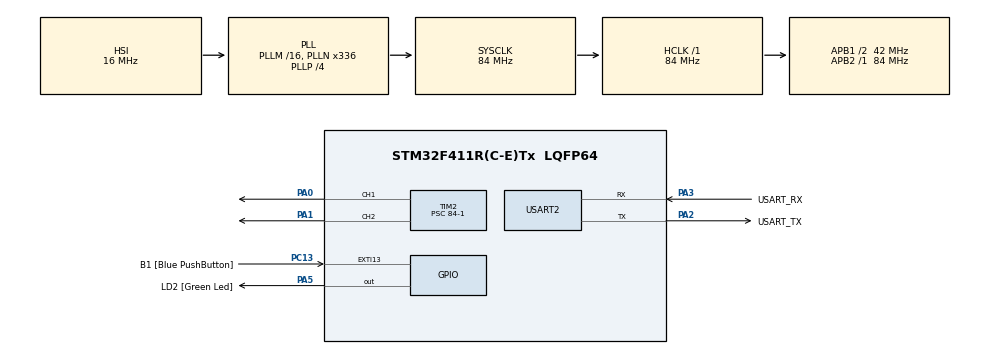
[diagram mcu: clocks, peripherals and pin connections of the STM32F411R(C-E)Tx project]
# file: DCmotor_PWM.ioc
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Mcu.Family=STM32F4
Mcu.Name=STM32F411R(C-E)Tx
Mcu.Package=LQFP64
NVIC.PriorityGroup=NVIC_PRIORITYGROUP_0
PA0-WKUP.Signal=S_TIM2_CH1_ETR
PA1.Signal=S_TIM2_CH2
PA13.GPIO_Label=TMS
PA13.Mode=Serial_Wire
PA13.Signal=SYS_JTMS-SWDIO
PA14.GPIO_Label=TCK
PA14.Mode=Serial_Wire
PA14.Signal=SYS_JTCK-SWCLK
PA2.GPIO_Label=USART_TX
PA2.Mode=Asynchronous
PA2.Signal=USART2_TX
PA3.GPIO_Label=USART_RX
PA3.Mode=Asynchronous
PA3.Signal=USART2_RX
PA5.GPIO_Label=LD2 [Green Led]
PA5.Signal=GPIO_Output
PB3.GPIO_Label=SWO
PB3.Signal=SYS_JTDO-SWO
PC13-ANTI_TAMP.GPIO_Label=B1 [Blue PushButton]
PC13-ANTI_TAMP.GPIO_ModeDefaultEXTI=GPIO_MODE_IT_FALLING
PC13-ANTI_TAMP.Signal=GPXTI13
PC14-OSC32_IN.Mode=LSE-External-Oscillator
PC14-OSC32_IN.Signal=RCC_OSC32_IN
PC15-OSC32_OUT.Mode=LSE-External-Oscillator
PC15-OSC32_OUT.Signal=RCC_OSC32_OUT
PH0\ -\ OSC_IN.Mode=HSE-External-Clock-Source
PH0\ -\ OSC_IN.Signal=RCC_OSC_IN
PH1\ -\ OSC_OUT.Mode=HSE-External-Clock-Source
PH1\ -\ OSC_OUT.Signal=RCC_OSC_OUT
ProjectManager.HeapSize=0x200
ProjectManager.StackSize=0x400
ProjectManager.TargetToolchain=STM32CubeIDE
RCC.48MHZClocksFreq_Value=84000000
RCC.AHBFreq_Value=84000000
RCC.APB1CLKDivider=RCC_HCLK_DIV2
RCC.APB1Freq_Value=42000000
RCC.APB1TimFreq_Value=84000000
RCC.APB2Freq_Value=84000000
RCC.APB2TimFreq_Value=84000000
RCC.CortexFreq_Value=84000000
RCC.FLatency-AdvancedSettings=FLASH_LATENCY_2
RCC.HCLKFreq_Value=84000000
RCC.HSE_VALUE=8000000
RCC.HSI_VALUE=16000000
RCC.PLLN=336
RCC.PLLP=RCC_PLLP_DIV4
RCC.SYSCLKFreq_VALUE=84000000
RCC.SYSCLKSource=RCC_SYSCLKSOURCE_PLLCLK
RCC.VCOOutputFreq_Value=336000000
SH.S_TIM2_CH1_ETR.0=TIM2_CH1,PWM Generation1 CH1
SH.S_TIM2_CH2.0=TIM2_CH2,PWM Generation2 CH2
TIM2.AutoReloadPreload=TIM_AUTORELOAD_PRELOAD_DISABLE
TIM2.Channel-PWM\ Generation1\ CH1=TIM_CHANNEL_1
TIM2.Channel-PWM\ Generation2\ CH2=TIM_CHANNEL_2
TIM2.Period=1000-1
TIM2.Prescaler=84-1
USART2.VirtualMode=VM_ASYNC
VP_TIM2_VS_ClockSourceINT.Mode=Internal
board=NUCLEO-F411RE

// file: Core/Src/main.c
/* USER CODE BEGIN Header */
/**
  ******************************************************************************
  * @file           : main.c
  * @brief          : Main program body
  ******************************************************************************
  * @attention
  *
  * Copyright (c) 2022 STMicroelectronics.
  * All rights reserved.
  *
  * This software is licensed under terms that can be found in the LICENSE file
  * in the root directory of this software component.
  * If no LICENSE file comes with this software, it is provided AS-IS.
  *
  ******************************************************************************
  */
/* USER CODE END Header */
#include "main.h"

/* USER CODE BEGIN Includes */
#include <stdio.h>
/* USER CODE END Includes */

TIM_HandleTypeDef htim2;

UART_HandleTypeDef huart2;

/* USER CODE BEGIN PV */
#define rate 500
/* USER CODE END PV */

int main(void)
{

  /* MCU Configuration--------------------------------------------------------*/

  /* Reset of all peripherals, Initializes the Flash interface and the Systick. */
  HAL_Init();

  /* Configure the system clock */
  SystemClock_Config();

  /* Initialize all configured peripherals */
  MX_GPIO_Init();
  MX_USART2_UART_Init();
  MX_TIM2_Init();
  /* USER CODE BEGIN 2 */
  HAL_TIM_PWM_Start(&htim2, TIM_CHANNEL_1);
  HAL_TIM_PWM_Start(&htim2, TIM_CHANNEL_2);
  /* USER CODE END 2 */

  /* Infinite loop */
  while (1)
  {

    /* USER CODE BEGIN 3 */
	  for (int i=0;i<rate;i++){
		  TIM2->CCR1=i;
	  	  TIM2->CCR2=0;
	  	  delay(5);
	  }
	  delay(1000);

	  for (int i=255;i>0;i--){
		  TIM2->CCR1=i;
	  	  TIM2->CCR2=0;
	  	  delay(5);
	  }
	  delay(1000);

	  for (int i=0;i<rate;i++){
		  TIM2->CCR1=0;
	  	  TIM2->CCR2=i;
	  	  delay(5);
	  }
	  delay(1000);
	  for (int i=255;i>0;i--){
		  TIM2->CCR1=0;
		  TIM2->CCR2=i;
		  delay(5);
	  }
	  delay(1000);

	  }

  /* USER CODE END 3 */
}

void SystemClock_Config(void)
{
  RCC_OscInitTypeDef RCC_OscInitStruct = {0};
  RCC_ClkInitTypeDef RCC_ClkInitStruct = {0};

  /** Configure the main internal regulator output voltage
  */
  __HAL_RCC_PWR_CLK_ENABLE();
  __HAL_PWR_VOLTAGESCALING_CONFIG(PWR_REGULATOR_VOLTAGE_SCALE1);

  /** Initializes the RCC Oscillators according to the specified parameters
  * in the RCC_OscInitTypeDef structure.
  */
  RCC_OscInitStruct.OscillatorType = RCC_OSCILLATORTYPE_HSI;
  RCC_OscInitStruct.HSIState = RCC_HSI_ON;
  RCC_OscInitStruct.HSICalibrationValue = RCC_HSICALIBRATION_DEFAULT;
  RCC_OscInitStruct.PLL.PLLState = RCC_PLL_ON;
  RCC_OscInitStruct.PLL.PLLSource = RCC_PLLSOURCE_HSI;
  RCC_OscInitStruct.PLL.PLLM = 16;
  RCC_OscInitStruct.PLL.PLLN = 336;
  RCC_OscInitStruct.PLL.PLLP = RCC_PLLP_DIV4;
  RCC_OscInitStruct.PLL.PLLQ = 4;
  if (HAL_RCC_OscConfig(&RCC_OscInitStruct) != HAL_OK)
  {
    Error_Handler();
  }

  /** Initializes the CPU, AHB and APB buses clocks
  */
  RCC_ClkInitStruct.ClockType = RCC_CLOCKTYPE_HCLK|RCC_CLOCKTYPE_SYSCLK
                              |RCC_CLOCKTYPE_PCLK1|RCC_CLOCKTYPE_PCLK2;
  RCC_ClkInitStruct.SYSCLKSource = RCC_SYSCLKSOURCE_PLLCLK;
  RCC_ClkInitStruct.AHBCLKDivider = RCC_SYSCLK_DIV1;
  RCC_ClkInitStruct.APB1CLKDivider = RCC_HCLK_DIV2;
  RCC_ClkInitStruct.APB2CLKDivider = RCC_HCLK_DIV1;

  if (HAL_RCC_ClockConfig(&RCC_ClkInitStruct, FLASH_LATENCY_2) != HAL_OK)
  {
    Error_Handler();
  }
}

static void MX_TIM2_Init(void)
{

  TIM_ClockConfigTypeDef sClockSourceConfig = {0};
  TIM_MasterConfigTypeDef sMasterConfig = {0};
  TIM_OC_InitTypeDef sConfigOC = {0};

  htim2.Instance = TIM2;
  htim2.Init.Prescaler = 84-1;
  htim2.Init.CounterMode = TIM_COUNTERMODE_UP;
  htim2.Init.Period = 1000-1;
  htim2.Init.ClockDivision = TIM_CLOCKDIVISION_DIV1;
  htim2.Init.AutoReloadPreload = TIM_AUTORELOAD_PRELOAD_DISABLE;
  if (HAL_TIM_Base_Init(&htim2) != HAL_OK)
  {
    Error_Handler();
  }
  sClockSourceConfig.ClockSource = TIM_CLOCKSOURCE_INTERNAL;
  if (HAL_TIM_ConfigClockSource(&htim2, &sClockSourceConfig) != HAL_OK)
  {
    Error_Handler();
  }
  if (HAL_TIM_PWM_Init(&htim2) != HAL_OK)
  {
    Error_Handler();
  }
  sMasterConfig.MasterOutputTrigger = TIM_TRGO_RESET;
  sMasterConfig.MasterSlaveMode = TIM_MASTERSLAVEMODE_DISABLE;
  if (HAL_TIMEx_MasterConfigSynchronization(&htim2, &sMasterConfig) != HAL_OK)
  {
    Error_Handler();
  }
  sConfigOC.OCMode = TIM_OCMODE_PWM1;
  sConfigOC.Pulse = 0;
  sConfigOC.OCPolarity = TIM_OCPOLARITY_HIGH;
  sConfigOC.OCFastMode = TIM_OCFAST_DISABLE;
  if (HAL_TIM_PWM_ConfigChannel(&htim2, &sConfigOC, TIM_CHANNEL_1) != HAL_OK)
  {
    Error_Handler();
  }
  if (HAL_TIM_PWM_ConfigChannel(&htim2, &sConfigOC, TIM_CHANNEL_2) != HAL_OK)
  {
    Error_Handler();
  }
  HAL_TIM_MspPostInit(&htim2);

}

static void MX_USART2_UART_Init(void)
{

  huart2.Instance = USART2;
  huart2.Init.BaudRate = 115200;
  huart2.Init.WordLength = UART_WORDLENGTH_8B;
  huart2.Init.StopBits = UART_STOPBITS_1;
  huart2.Init.Parity = UART_PARITY_NONE;
  huart2.Init.Mode = UART_MODE_TX_RX;
  huart2.Init.HwFlowCtl = UART_HWCONTROL_NONE;
  huart2.Init.OverSampling = UART_OVERSAMPLING_16;
  if (HAL_UART_Init(&huart2) != HAL_OK)
  {
    Error_Handler();
  }

}

static void MX_GPIO_Init(void)
{
  GPIO_InitTypeDef GPIO_InitStruct = {0};

  /* GPIO Ports Clock Enable */
  __HAL_RCC_GPIOC_CLK_ENABLE();
  __HAL_RCC_GPIOH_CLK_ENABLE();
  __HAL_RCC_GPIOA_CLK_ENABLE();
  __HAL_RCC_GPIOB_CLK_ENABLE();

  /*Configure GPIO pin Output Level */
  HAL_GPIO_WritePin(LD2_GPIO_Port, LD2_Pin, GPIO_PIN_RESET);

  /*Configure GPIO pin : B1_Pin */
  GPIO_InitStruct.Pin = B1_Pin;
  GPIO_InitStruct.Mode = GPIO_MODE_IT_FALLING;
  GPIO_InitStruct.Pull = GPIO_NOPULL;
  HAL_GPIO_Init(B1_GPIO_Port, &GPIO_InitStruct);

  /*Configure GPIO pin : LD2_Pin */
  GPIO_InitStruct.Pin = LD2_Pin;
  GPIO_InitStruct.Mode = GPIO_MODE_OUTPUT_PP;
  GPIO_InitStruct.Pull = GPIO_NOPULL;
  GPIO_InitStruct.Speed = GPIO_SPEED_FREQ_LOW;
  HAL_GPIO_Init(LD2_GPIO_Port, &GPIO_InitStruct);

}

/* USER CODE BEGIN 4 */
void delay(int ms)
{

	int i;
	for(; ms>0 ;ms--){
		for(i =0; i<3195;i++);

	}

}
/* USER CODE END 4 */

void Error_Handler(void)
{
  __disable_irq();
  while (1)
  {
  }
}
